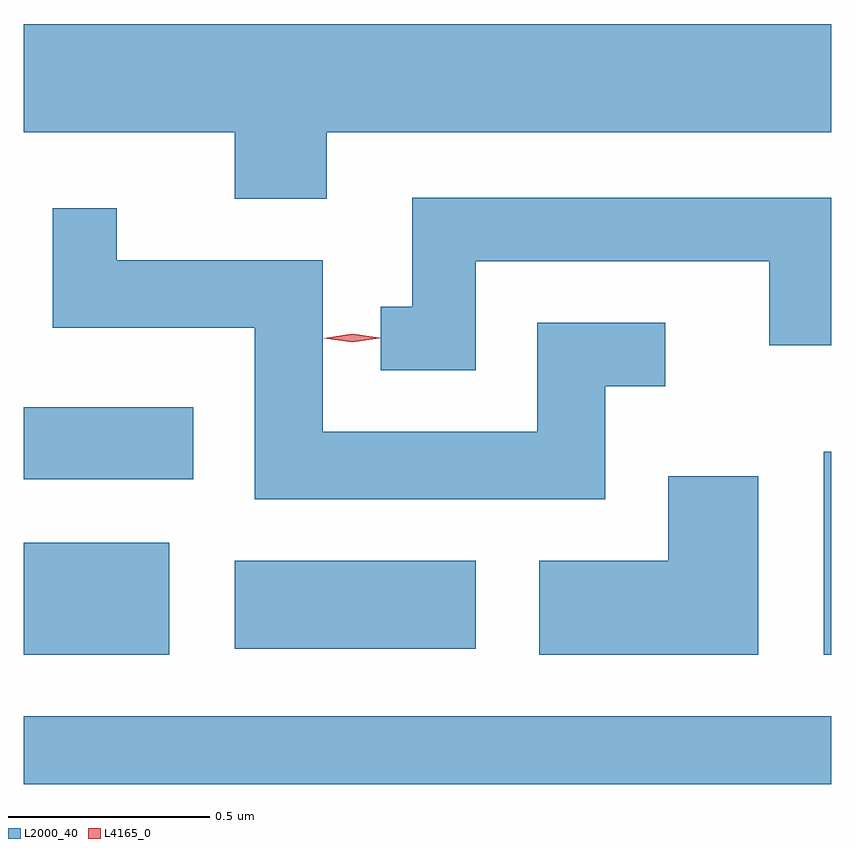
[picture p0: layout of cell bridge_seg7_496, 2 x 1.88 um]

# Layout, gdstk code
import gdstk
lib = gdstk.Library(unit=1e-6, precision=1e-09)
def R(c, l, rs):  # rectangles x0, y0, x1, y1
    for r in rs: c.add(gdstk.rectangle(r[:2], r[2:], *l))
def P(c, l, *ps):  # polygons
    for p in ps: c.add(gdstk.Polygon(p, *l))
L2000_40 = (2000, 40)
L4165_0 = (4165, 0)

bridge_seg7_496 = lib.new_cell('bridge_seg7_496')
R(bridge_seg7_496, L2000_40, [(1446.459,1712.701,1448.459,1712.869), (1446.459,1713.021,1446.819,1713.299), (1448.441,1713.021,1448.459,1713.524), (1446.981,1713.036,1447.579,1713.254), (1446.459,1713.456,1446.879,1713.634)])
P(bridge_seg7_496, L2000_40, [(1447.209,1714.316),(1448.459,1714.316),(1448.459,1714.584),(1446.459,1714.584),(1446.459,1714.316),(1446.981,1714.316),(1446.981,1714.151),(1447.209,1714.151)],
  [(1447.579,1713.996),(1448.306,1713.996),(1448.306,1713.788),(1448.459,1713.788),(1448.459,1714.154),(1447.421,1714.154),(1447.421,1713.884),(1447.343,1713.884),(1447.343,1713.726),(1447.579,1713.726)],
  [(1447.899,1713.686),(1448.048,1713.686),(1448.048,1713.844),(1447.731,1713.844),(1447.731,1713.574),(1447.199,1713.574),(1447.199,1713.999),(1446.689,1713.999),(1446.689,1714.128),(1446.531,1714.128),(1446.531,1713.831),(1447.031,1713.831),(1447.031,1713.406),(1447.899,1713.406)],
  [(1448.279,1713.464),(1448.056,1713.464),(1448.056,1713.254),(1447.736,1713.254),(1447.736,1713.021),(1448.279,1713.021)])
P(bridge_seg7_496, L4165_0, [(1447.272,1713.796),(1447.202,1713.805),(1447.202,1713.806),(1447.202,1713.806),(1447.272,1713.816),(1447.341,1713.807),(1447.341,1713.807),(1447.341,1713.806)])

lib.write_gds('bridge_seg7_496.gds')
